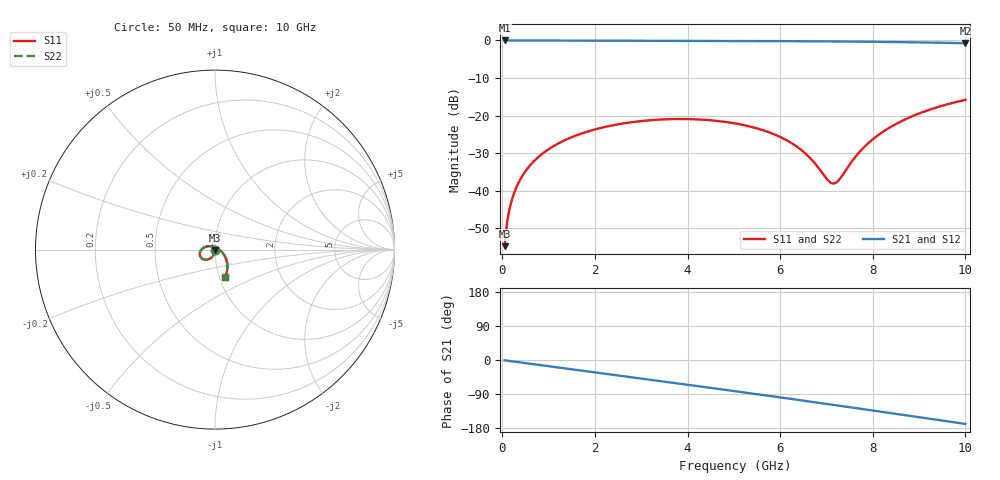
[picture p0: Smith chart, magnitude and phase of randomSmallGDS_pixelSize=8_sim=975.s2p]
! freq	dB(S11)	phase(S11)	dB(S12)	phase(S12)
!  dB(S21)	phase(S21)	dB(S22)	phase(S22)
!S-par simulation data
#  GHz  S  DB  R 50
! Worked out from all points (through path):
!   200 points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, 50 MHz to 10 GHz, reference 50 ohm
!   highest |S21| = 0.00 dB at 50 MHz (marker M1); lowest = -0.7 dB at 10 GHz (marker M2)
!   group delay of S21, straight-line fit = 46.7 ps
!   lowest |S11| = -54.7 dB at 50 MHz (marker M3), VSWR 1.00, Z = 50 - j0.183 ohm
!   |S11| at or under -10 dB: start of sweep to end of sweep
!   |S22| runs from -54.7 to -15.8 dB; largest |S21 - S12| = 0
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0.05  -54.75 -90.3  -0.00 -0.8  -0.00 -0.8  -54.75 -90.3
0.1  -48.73 -91.5  -0.00 -1.7  -0.00 -1.7  -48.73 -91.5
0.15  -45.21 -92.5  -0.01 -2.5  -0.01 -2.5  -45.21 -92.5
0.2  -42.71 -93.5  -0.01 -3.3  -0.01 -3.3  -42.71 -93.5
0.35  -37.87 -96.2  -0.01 -5.8  -0.01 -5.8  -37.87 -96.2
0.5  -34.80 -98.9  -0.01 -8.2  -0.01 -8.2  -34.80 -98.9
0.7  -31.93 -102.3  -0.02 -11.5  -0.02 -11.5  -31.93 -102.3
1  -28.95 -107.4  -0.02 -16.4  -0.02 -16.4  -28.95 -107.4
1.75  -24.61 -120.0  -0.05 -28.6  -0.05 -28.6  -24.61 -120.0
2.5  -22.32 -132.5  -0.07 -40.8  -0.07 -40.8  -22.32 -132.5
3.4  -21.06 -147.6  -0.10 -55.5  -0.10 -55.5  -21.06 -147.7
4.25  -21.03 -162.4  -0.12 -69.4  -0.12 -69.4  -21.03 -162.5
5.05  -22.13 -177.3  -0.15 -82.7  -0.15 -82.7  -22.13 -177.3
6.05  -25.97 160.3  -0.19 -99.5  -0.19 -99.5  -25.97 160.2
6.4  -28.60 149.1  -0.21 -105.5  -0.21 -105.5  -28.59 148.9
6.7  -31.99 133.8  -0.23 -110.6  -0.23 -110.6  -31.97 133.6
7.05  -37.44 89.5  -0.25 -116.7  -0.25 -116.7  -37.37 89.3
7.2  -37.92 53.1  -0.27 -119.3  -0.27 -119.3  -37.83 53.2
7.8  -28.55 -16.2  -0.33 -129.8  -0.33 -129.8  -28.53 -16.0
8.35  -23.29 -34.9  -0.41 -139.5  -0.41 -139.5  -23.29 -34.7
9.1  -18.98 -52.1  -0.53 -152.7  -0.53 -152.7  -18.97 -52.0
10  -15.81 -69.6  -0.73 -168.7  -0.73 -168.7  -15.81 -69.6
